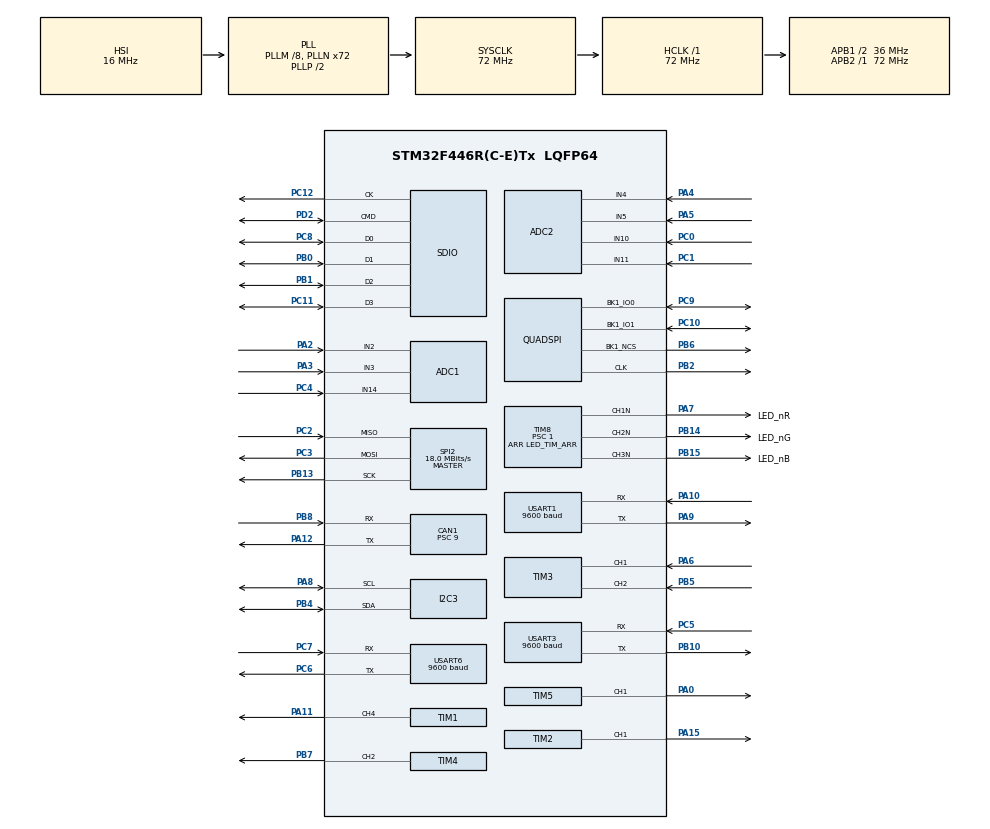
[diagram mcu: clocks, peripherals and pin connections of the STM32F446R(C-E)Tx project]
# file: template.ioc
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ADC1.Channel-95\#ChannelRegularConversion=ADC_CHANNEL_2
ADC1.NbrOfConversionFlag=1
ADC1.Rank-95\#ChannelRegularConversion=1
ADC1.SamplingTime-95\#ChannelRegularConversion=ADC_SAMPLETIME_3CYCLES
ADC1.master=1
ADC2.Channel-88\#ChannelRegularConversion=ADC_CHANNEL_4
ADC2.NbrOfConversionFlag=1
ADC2.Rank-88\#ChannelRegularConversion=1
ADC2.SamplingTime-88\#ChannelRegularConversion=ADC_SAMPLETIME_3CYCLES
CAN1.BS1=CAN_BS1_13TQ
CAN1.BS2=CAN_BS2_2TQ
CAN1.CalculateTimeQuantum=250.0
CAN1.NART=ENABLE
CAN1.Prescaler=9
Dma.I2C3_RX.2.Direction=DMA_PERIPH_TO_MEMORY
Dma.I2C3_RX.2.FIFOMode=DMA_FIFOMODE_DISABLE
Dma.I2C3_RX.2.Instance=DMA1_Stream2
Dma.I2C3_RX.2.MemDataAlignment=DMA_MDATAALIGN_BYTE
Dma.I2C3_RX.2.MemInc=DMA_MINC_ENABLE
Dma.I2C3_RX.2.Mode=DMA_NORMAL
Dma.I2C3_RX.2.PeriphDataAlignment=DMA_PDATAALIGN_BYTE
Dma.I2C3_RX.2.PeriphInc=DMA_PINC_DISABLE
Dma.I2C3_RX.2.Priority=DMA_PRIORITY_LOW
Dma.Request0=SDIO_RX
Dma.Request1=SDIO_TX
Dma.Request2=I2C3_RX
Dma.Request3=USART3_RX
Dma.Request4=USART3_TX
Dma.Request5=USART1_TX
Dma.Request6=USART6_RX
Dma.SDIO_RX.0.Direction=DMA_PERIPH_TO_MEMORY
Dma.SDIO_RX.0.FIFOMode=DMA_FIFOMODE_ENABLE
Dma.SDIO_RX.0.FIFOThreshold=DMA_FIFO_THRESHOLD_FULL
Dma.SDIO_RX.0.Instance=DMA2_Stream6
Dma.SDIO_RX.0.MemBurst=DMA_MBURST_INC4
Dma.SDIO_RX.0.MemDataAlignment=DMA_MDATAALIGN_WORD
Dma.SDIO_RX.0.MemInc=DMA_MINC_ENABLE
Dma.SDIO_RX.0.Mode=DMA_PFCTRL
Dma.SDIO_RX.0.PeriphBurst=DMA_PBURST_INC4
Dma.SDIO_RX.0.PeriphDataAlignment=DMA_PDATAALIGN_WORD
Dma.SDIO_RX.0.PeriphInc=DMA_PINC_DISABLE
Dma.SDIO_RX.0.Priority=DMA_PRIORITY_LOW
Dma.SDIO_TX.1.Direction=DMA_MEMORY_TO_PERIPH
Dma.SDIO_TX.1.FIFOMode=DMA_FIFOMODE_ENABLE
Dma.SDIO_TX.1.FIFOThreshold=DMA_FIFO_THRESHOLD_FULL
Dma.SDIO_TX.1.Instance=DMA2_Stream3
Dma.SDIO_TX.1.MemBurst=DMA_MBURST_INC4
Dma.SDIO_TX.1.MemDataAlignment=DMA_MDATAALIGN_WORD
Dma.SDIO_TX.1.MemInc=DMA_MINC_ENABLE
Dma.SDIO_TX.1.Mode=DMA_PFCTRL
Dma.SDIO_TX.1.PeriphBurst=DMA_PBURST_INC4
Dma.SDIO_TX.1.PeriphDataAlignment=DMA_PDATAALIGN_WORD
Dma.SDIO_TX.1.PeriphInc=DMA_PINC_DISABLE
Dma.SDIO_TX.1.Priority=DMA_PRIORITY_LOW
Dma.USART1_TX.5.Direction=DMA_MEMORY_TO_PERIPH
Dma.USART1_TX.5.FIFOMode=DMA_FIFOMODE_DISABLE
Dma.USART1_TX.5.Instance=DMA2_Stream7
Dma.USART1_TX.5.MemDataAlignment=DMA_MDATAALIGN_BYTE
Dma.USART1_TX.5.MemInc=DMA_MINC_ENABLE
Dma.USART1_TX.5.Mode=DMA_NORMAL
Dma.USART1_TX.5.PeriphDataAlignment=DMA_PDATAALIGN_BYTE
Dma.USART1_TX.5.PeriphInc=DMA_PINC_DISABLE
Dma.USART1_TX.5.Priority=DMA_PRIORITY_LOW
Dma.USART3_RX.3.Direction=DMA_PERIPH_TO_MEMORY
Dma.USART3_RX.3.FIFOMode=DMA_FIFOMODE_DISABLE
Dma.USART3_RX.3.Instance=DMA1_Stream1
Dma.USART3_RX.3.MemDataAlignment=DMA_MDATAALIGN_BYTE
Dma.USART3_RX.3.MemInc=DMA_MINC_ENABLE
Dma.USART3_RX.3.Mode=DMA_NORMAL
Dma.USART3_RX.3.PeriphDataAlignment=DMA_PDATAALIGN_BYTE
Dma.USART3_RX.3.PeriphInc=DMA_PINC_DISABLE
Dma.USART3_RX.3.Priority=DMA_PRIORITY_LOW
Dma.USART3_TX.4.Direction=DMA_MEMORY_TO_PERIPH
Dma.USART3_TX.4.FIFOMode=DMA_FIFOMODE_DISABLE
Dma.USART3_TX.4.Instance=DMA1_Stream4
Dma.USART3_TX.4.MemDataAlignment=DMA_MDATAALIGN_BYTE
Dma.USART3_TX.4.MemInc=DMA_MINC_ENABLE
Dma.USART3_TX.4.Mode=DMA_NORMAL
Dma.USART3_TX.4.PeriphDataAlignment=DMA_PDATAALIGN_BYTE
Dma.USART3_TX.4.PeriphInc=DMA_PINC_DISABLE
Dma.USART3_TX.4.Priority=DMA_PRIORITY_LOW
Dma.USART6_RX.6.Direction=DMA_PERIPH_TO_MEMORY
Dma.USART6_RX.6.FIFOMode=DMA_FIFOMODE_DISABLE
Dma.USART6_RX.6.Instance=DMA2_Stream1
Dma.USART6_RX.6.MemDataAlignment=DMA_MDATAALIGN_BYTE
Dma.USART6_RX.6.MemInc=DMA_MINC_ENABLE
Dma.USART6_RX.6.Mode=DMA_CIRCULAR
Dma.USART6_RX.6.PeriphDataAlignment=DMA_PDATAALIGN_BYTE
Dma.USART6_RX.6.PeriphInc=DMA_PINC_DISABLE
Dma.USART6_RX.6.Priority=DMA_PRIORITY_LOW
FATFS._FS_LOCK=2
FATFS._USE_STRFUNC=0
FREERTOS.Tasks01=defaultTask,0,256,StartDefaultTask,Default,NULL,Dynamic,NULL,NULL;task_s1,0,256,TK_task_s1,Default,NULL,Dynamic,NULL,NULL;task_s2,0,256,TK_task_s2,Default,NULL,Dynamic,NULL,NULL
FREERTOS.configMINIMAL_STACK_SIZE=256
FREERTOS.configTOTAL_HEAP_SIZE=64400
Mcu.Family=STM32F4
Mcu.Name=STM32F446R(C-E)Tx
Mcu.Package=LQFP64
Mcu.UserConstants=LED_TIM_ARR,1000
NVIC.CAN1_RX0_IRQn=true\:5\:0\:false\:false\:true\:true\:true
NVIC.DMA1_Stream1_IRQn=true\:5\:0\:false\:false\:true\:true\:false
NVIC.DMA1_Stream2_IRQn=true\:5\:0\:false\:false\:true\:true\:false
NVIC.DMA1_Stream4_IRQn=true\:5\:0\:false\:false\:true\:true\:false
NVIC.DMA2_Stream1_IRQn=true\:5\:0\:false\:false\:true\:true\:false
NVIC.DMA2_Stream3_IRQn=true\:5\:0\:false\:false\:true\:true\:false
NVIC.DMA2_Stream6_IRQn=true\:5\:0\:false\:false\:true\:true\:false
NVIC.DMA2_Stream7_IRQn=true\:5\:0\:false\:false\:true\:true\:false
NVIC.PriorityGroup=NVIC_PRIORITYGROUP_4
NVIC.SDIO_IRQn=true\:5\:0\:false\:false\:true\:true\:true
NVIC.TIM8_TRG_COM_TIM14_IRQn=true\:0\:0\:false\:false\:true\:false\:false
NVIC.TimeBase=TIM8_TRG_COM_TIM14_IRQn
NVIC.TimeBaseIP=TIM14
NVIC.USART1_IRQn=true\:5\:0\:false\:false\:true\:true\:true
PA0-WKUP.Signal=S_TIM5_CH1
PA10.Mode=Asynchronous
PA10.Signal=USART1_RX
PA11.Signal=S_TIM1_CH4
PA12.Mode=Master
PA12.Signal=CAN1_TX
PA13.Mode=Trace_Asynchronous_SW
PA13.Signal=SYS_JTMS-SWDIO
PA14.Mode=Trace_Asynchronous_SW
PA14.Signal=SYS_JTCK-SWCLK
PA15.Signal=S_TIM2_CH1_ETR
PA2.Signal=ADCx_IN2
PA3.Signal=ADCx_IN3
PA4.Signal=ADCx_IN4
PA5.Signal=ADCx_IN5
PA6.Signal=S_TIM3_CH1
PA7.GPIO_Label=LED_nR
PA7.Mode=PWM Generation1 CH1N
PA7.Signal=TIM8_CH1N
PA8.Mode=I2C
PA8.Signal=I2C3_SCL
PA9.Mode=Asynchronous
PA9.Signal=USART1_TX
PB0.Mode=SD_4_bits_Wide_bus
PB0.Signal=SDIO_D1
PB1.Mode=SD_4_bits_Wide_bus
PB1.Signal=SDIO_D2
PB10.Mode=Asynchronous
PB10.Signal=USART3_TX
PB13.Mode=Full_Duplex_Master
PB13.Signal=SPI2_SCK
PB14.GPIO_Label=LED_nG
PB14.Mode=PWM Generation2 CH2N
PB14.Signal=TIM8_CH2N
PB15.GPIO_Label=LED_nB
PB15.Mode=PWM Generation3 CH3N
PB15.Signal=TIM8_CH3N
PB2.Mode=Single Bank 1 2IOs
PB2.Signal=QUADSPI_CLK
PB3.Mode=Trace_Asynchronous_SW
PB3.Signal=SYS_JTDO-SWO
PB4.Mode=I2C
PB4.Signal=I2C3_SDA
PB5.Signal=S_TIM3_CH2
PB6.Mode=Single Bank 1 2IOs
PB6.Signal=QUADSPI_BK1_NCS
PB7.Signal=S_TIM4_CH2
PB8.Mode=Master
PB8.Signal=CAN1_RX
PC0.Signal=ADCx_IN10
PC1.Signal=ADCx_IN11
PC10.Mode=Single Bank 1 2IOs
PC10.Signal=QUADSPI_BK1_IO1
PC11.Mode=SD_4_bits_Wide_bus
PC11.Signal=SDIO_D3
PC12.Mode=SD_4_bits_Wide_bus
PC12.Signal=SDIO_CK
PC14-OSC32_IN.Mode=LSE-External-Oscillator
PC14-OSC32_IN.Signal=RCC_OSC32_IN
PC15-OSC32_OUT.Mode=LSE-External-Oscillator
PC15-OSC32_OUT.Signal=RCC_OSC32_OUT
PC2.Mode=Full_Duplex_Master
PC2.Signal=SPI2_MISO
PC3.Mode=Full_Duplex_Master
PC3.Signal=SPI2_MOSI
PC4.Signal=ADCx_IN14
PC5.Mode=Asynchronous
PC5.Signal=USART3_RX
PC6.Mode=Asynchronous
PC6.Signal=USART6_TX
PC7.Mode=Asynchronous
PC7.Signal=USART6_RX
PC8.Mode=SD_4_bits_Wide_bus
PC8.Signal=SDIO_D0
PC9.Mode=Single Bank 1 2IOs
PC9.Signal=QUADSPI_BK1_IO0
PD2.Mode=SD_4_bits_Wide_bus
PD2.Signal=SDIO_CMD
PH0-OSC_IN.Mode=HSE-External-Oscillator
PH0-OSC_IN.Signal=RCC_OSC_IN
PH1-OSC_OUT.Mode=HSE-External-Oscillator
PH1-OSC_OUT.Signal=RCC_OSC_OUT
ProjectManager.HeapSize=0x200
ProjectManager.StackSize=0x400
ProjectManager.TargetToolchain=SW4STM32
RCC.AHBFreq_Value=72000000
RCC.APB1CLKDivider=RCC_HCLK_DIV2
RCC.APB1Freq_Value=36000000
RCC.APB1TimFreq_Value=72000000
RCC.APB2Freq_Value=72000000
RCC.APB2TimFreq_Value=72000000
RCC.CortexFreq_Value=72000000
RCC.HCLKFreq_Value=72000000
RCC.HSE_VALUE=8000000
RCC.PLLM=8
RCC.PLLN=72
RCC.PLLQ=3
RCC.SYSCLKFreq_VALUE=72000000
RCC.SYSCLKSource=RCC_SYSCLKSOURCE_PLLCLK
RCC.USBFreq_Value=48000000
RCC.VCOOutputFreq_Value=144000000
SH.ADCx_IN10.0=ADC2_IN10,IN10
SH.ADCx_IN11.0=ADC2_IN11,IN11
SH.ADCx_IN14.0=ADC1_IN14,IN14
SH.ADCx_IN2.0=ADC1_IN2,IN2
SH.ADCx_IN3.0=ADC1_IN3,IN3
SH.ADCx_IN4.0=ADC2_IN4,IN4
SH.ADCx_IN5.0=ADC2_IN5,IN5
SH.S_TIM1_CH4.0=TIM1_CH4,Output Compare4 CH4
SH.S_TIM2_CH1_ETR.0=TIM2_CH1,Output Compare1 CH1
SH.S_TIM3_CH1.0=TIM3_CH1,TriggerSource_TI1FP1
SH.S_TIM3_CH2.0=TIM3_CH2,Input_Capture2_from_TI2
SH.S_TIM4_CH2.0=TIM4_CH2,Output Compare2 CH2
SH.S_TIM5_CH1.0=TIM5_CH1,Output Compare1 CH1
SPI2.BaudRatePrescaler=SPI_BAUDRATEPRESCALER_2
SPI2.CalculateBaudRate=18.0 MBits/s
SPI2.Direction=SPI_DIRECTION_2LINES
SPI2.Mode=SPI_MODE_MASTER
SPI2.VirtualType=VM_MASTER
TIM1.Channel-Output\ Compare4\ CH4=TIM_CHANNEL_4
TIM2.Channel-Output\ Compare1\ CH1=TIM_CHANNEL_1
TIM3.Channel-Input_Capture2_from_TI2=TIM_CHANNEL_2
TIM4.Channel-Output\ Compare2\ CH2=TIM_CHANNEL_2
TIM5.Channel-Output\ Compare1\ CH1=TIM_CHANNEL_1
TIM8.Channel-PWM\ Generation1\ CH1N=TIM_CHANNEL_1
TIM8.Channel-PWM\ Generation2\ CH2N=TIM_CHANNEL_2
TIM8.Channel-PWM\ Generation3\ CH3N=TIM_CHANNEL_3
TIM8.OCMode_PWM-PWM\ Generation1\ CH1N=TIM_OCMODE_PWM2
TIM8.OCMode_PWM-PWM\ Generation2\ CH2N=TIM_OCMODE_PWM2
TIM8.OCMode_PWM-PWM\ Generation3\ CH3N=TIM_OCMODE_PWM2
TIM8.Period=LED_TIM_ARR
TIM8.Prescaler=1
USART1.BaudRate=9600
USART1.VirtualMode=VM_ASYNC
USART3.BaudRate=9600
USART3.VirtualMode=VM_ASYNC
USART6.BaudRate=9600
USART6.VirtualMode=VM_ASYNC
VP_FATFS_VS_SDIO.Mode=SDIO
VP_FREERTOS_VS_ENABLE.Mode=Enabled
VP_SYS_VS_tim14.Mode=TIM14
VP_TIM1_VS_ClockSourceINT.Mode=Internal
VP_TIM2_VS_ClockSourceINT.Mode=Internal
VP_TIM3_VS_ControllerModeClock.Mode=Clock Mode
VP_TIM4_VS_ClockSourceINT.Mode=Internal
VP_TIM5_VS_ClockSourceINT.Mode=Internal
VP_TIM8_VS_ClockSourceINT.Mode=Internal
board=custom

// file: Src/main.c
/* USER CODE BEGIN Header */
/**
  ******************************************************************************
  * @file           : main.c
  * @brief          : Main program body
  ******************************************************************************
  * This notice applies to any and all portions of this file
  * that are not between comment pairs USER CODE BEGIN and
  * USER CODE END. Other portions of this file, whether
  * inserted by the user or by software development tools
  * are owned by their respective copyright owners.
  *
  * Copyright (c) 2019 STMicroelectronics International N.V.
  * All rights reserved.
  *
  * Redistribution and use in source and binary forms, with or without
  * modification, are permitted, provided that the following conditions are met:
  *
  * 1. Redistribution of source code must retain the above copyright notice,
  *    this list of conditions and the following disclaimer.
  * 2. Redistributions in binary form must reproduce the above copyright notice,
  *    this list of conditions and the following disclaimer in the documentation
  *    and/or other materials provided with the distribution.
  * 3. Neither the name of STMicroelectronics nor the names of other
  *    contributors to this software may be used to endorse or promote products
  *    derived from this software without specific written permission.
  * 4. This software, including modifications and/or derivative works of this
  *    software, must execute solely and exclusively on microcontroller or
  *    microprocessor devices manufactured by or for STMicroelectronics.
  * 5. Redistribution and use of this software other than as permitted under
  *    this license is void and will automatically terminate your rights under
  *    this license.
  *
  * THIS SOFTWARE IS PROVIDED BY STMICROELECTRONICS AND CONTRIBUTORS "AS IS"
  * AND ANY EXPRESS, IMPLIED OR STATUTORY WARRANTIES, INCLUDING, BUT NOT
  * LIMITED TO, THE IMPLIED WARRANTIES OF MERCHANTABILITY, FITNESS FOR A
  * PARTICULAR PURPOSE AND NON-INFRINGEMENT OF THIRD PARTY INTELLECTUAL PROPERTY
  * RIGHTS ARE DISCLAIMED TO THE FULLEST EXTENT PERMITTED BY LAW. IN NO EVENT
  * SHALL STMICROELECTRONICS OR CONTRIBUTORS BE LIABLE FOR ANY DIRECT, INDIRECT,
  * INCIDENTAL, SPECIAL, EXEMPLARY, OR CONSEQUENTIAL DAMAGES (INCLUDING, BUT NOT
  * LIMITED TO, PROCUREMENT OF SUBSTITUTE GOODS OR SERVICES; LOSS OF USE, DATA,
  * OR PROFITS; OR BUSINESS INTERRUPTION) HOWEVER CAUSED AND ON ANY THEORY OF
  * LIABILITY, WHETHER IN CONTRACT, STRICT LIABILITY, OR TORT (INCLUDING
  * NEGLIGENCE OR OTHERWISE) ARISING IN ANY WAY OUT OF THE USE OF THIS SOFTWARE,
  * EVEN IF ADVISED OF THE POSSIBILITY OF SUCH DAMAGE.
  *
  ******************************************************************************
  */
/* USER CODE END Header */

#include "main.h"
#include "cmsis_os.h"
#include "adc.h"
#include "can.h"
#include "dma.h"
#include "fatfs.h"
#include "i2c.h"
#include "quadspi.h"
#include "sdio.h"
#include "spi.h"
#include "tim.h"
#include "usart.h"
#include "gpio.h"

/* USER CODE BEGIN Includes */
#include "led.h"
#include "CAN_communication.h"
/* USER CODE END Includes */

void SystemClock_Config(void);
void MX_FREERTOS_Init(void);

int main(void)
{

  /* MCU Configuration--------------------------------------------------------*/

  /* Reset of all peripherals, Initializes the Flash interface and the Systick. */
  HAL_Init();

  /* Configure the system clock */
  SystemClock_Config();

  /* USER CODE BEGIN SysInit */
  #ifdef GPS
  HAL_Delay(250); // wait for the GPS to initialize
  #endif
  /* USER CODE END SysInit */

  /* Initialize all configured peripherals */
  MX_GPIO_Init();
  MX_DMA_Init();
  MX_ADC1_Init();
  MX_ADC2_Init();
  MX_CAN1_Init();
  MX_I2C3_Init();
  MX_QUADSPI_Init();
  MX_SDIO_SD_Init();
  MX_SPI2_Init();
  MX_TIM1_Init();
  MX_TIM2_Init();
  MX_TIM3_Init();
  MX_TIM4_Init();
  MX_TIM5_Init();
  MX_TIM8_Init();
  MX_USART1_UART_Init();
  MX_USART3_UART_Init();
  MX_USART6_UART_Init();
  /* USER CODE BEGIN 2 */

  led_init();
  CAN_Config(CAN_ID);

  /* USER CODE END 2 */

  /* Call init function for freertos objects (in freertos.c) */
  MX_FREERTOS_Init();

  /* Start scheduler */
  osKernelStart();

  /* We should never get here as control is now taken by the scheduler */

  /* Infinite loop */
  while (1)
  {

  }
}

void SystemClock_Config(void)
{
  RCC_OscInitTypeDef RCC_OscInitStruct = {0};
  RCC_ClkInitTypeDef RCC_ClkInitStruct = {0};
  RCC_PeriphCLKInitTypeDef PeriphClkInitStruct = {0};

  /**Configure the main internal regulator output voltage
  */
  __HAL_RCC_PWR_CLK_ENABLE();
  __HAL_PWR_VOLTAGESCALING_CONFIG(PWR_REGULATOR_VOLTAGE_SCALE3);
  /**Initializes the CPU, AHB and APB busses clocks
  */
  RCC_OscInitStruct.OscillatorType = RCC_OSCILLATORTYPE_HSI;
  RCC_OscInitStruct.HSIState = RCC_HSI_ON;
  RCC_OscInitStruct.HSICalibrationValue = RCC_HSICALIBRATION_DEFAULT;
  RCC_OscInitStruct.PLL.PLLState = RCC_PLL_ON;
  RCC_OscInitStruct.PLL.PLLSource = RCC_PLLSOURCE_HSI;
  RCC_OscInitStruct.PLL.PLLM = 8;
  RCC_OscInitStruct.PLL.PLLN = 72;
  RCC_OscInitStruct.PLL.PLLP = RCC_PLLP_DIV2;
  RCC_OscInitStruct.PLL.PLLQ = 3;
  RCC_OscInitStruct.PLL.PLLR = 2;
  if (HAL_RCC_OscConfig(&RCC_OscInitStruct) != HAL_OK)
  {
    Error_Handler();
  }
  /**Initializes the CPU, AHB and APB busses clocks
  */
  RCC_ClkInitStruct.ClockType = RCC_CLOCKTYPE_HCLK|RCC_CLOCKTYPE_SYSCLK
                              |RCC_CLOCKTYPE_PCLK1|RCC_CLOCKTYPE_PCLK2;
  RCC_ClkInitStruct.SYSCLKSource = RCC_SYSCLKSOURCE_PLLCLK;
  RCC_ClkInitStruct.AHBCLKDivider = RCC_SYSCLK_DIV1;
  RCC_ClkInitStruct.APB1CLKDivider = RCC_HCLK_DIV2;
  RCC_ClkInitStruct.APB2CLKDivider = RCC_HCLK_DIV1;

  if (HAL_RCC_ClockConfig(&RCC_ClkInitStruct, FLASH_LATENCY_2) != HAL_OK)
  {
    Error_Handler();
  }
  PeriphClkInitStruct.PeriphClockSelection = RCC_PERIPHCLK_SDIO|RCC_PERIPHCLK_CLK48;
  PeriphClkInitStruct.Clk48ClockSelection = RCC_CLK48CLKSOURCE_PLLQ;
  PeriphClkInitStruct.SdioClockSelection = RCC_SDIOCLKSOURCE_CLK48;
  if (HAL_RCCEx_PeriphCLKConfig(&PeriphClkInitStruct) != HAL_OK)
  {
    Error_Handler();
  }
}

void HAL_TIM_PeriodElapsedCallback(TIM_HandleTypeDef *htim)
{
  if (htim->Instance == TIM14) {
    HAL_IncTick();
  }
}

void Error_Handler(void)
{
}

/************************ (C) COPYRIGHT STMicroelectronics *****END OF FILE****/

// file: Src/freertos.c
/* USER CODE BEGIN Header */
/**
  ******************************************************************************
  * File Name          : freertos.c
  * Description        : Code for freertos applications
  ******************************************************************************
  * This notice applies to any and all portions of this file
  * that are not between comment pairs USER CODE BEGIN and
  * USER CODE END. Other portions of this file, whether
  * inserted by the user or by software development tools
  * are owned by their respective copyright owners.
  *
  * Copyright (c) 2019 STMicroelectronics International N.V.
  * All rights reserved.
  *
  * Redistribution and use in source and binary forms, with or without
  * modification, are permitted, provided that the following conditions are met:
  *
  * 1. Redistribution of source code must retain the above copyright notice,
  *    this list of conditions and the following disclaimer.
  * 2. Redistributions in binary form must reproduce the above copyright notice,
  *    this list of conditions and the following disclaimer in the documentation
  *    and/or other materials provided with the distribution.
  * 3. Neither the name of STMicroelectronics nor the names of other
  *    contributors to this software may be used to endorse or promote products
  *    derived from this software without specific written permission.
  * 4. This software, including modifications and/or derivative works of this
  *    software, must execute solely and exclusively on microcontroller or
  *    microprocessor devices manufactured by or for STMicroelectronics.
  * 5. Redistribution and use of this software other than as permitted under
  *    this license is void and will automatically terminate your rights under
  *    this license.
  *
  * THIS SOFTWARE IS PROVIDED BY STMICROELECTRONICS AND CONTRIBUTORS "AS IS"
  * AND ANY EXPRESS, IMPLIED OR STATUTORY WARRANTIES, INCLUDING, BUT NOT
  * LIMITED TO, THE IMPLIED WARRANTIES OF MERCHANTABILITY, FITNESS FOR A
  * PARTICULAR PURPOSE AND NON-INFRINGEMENT OF THIRD PARTY INTELLECTUAL PROPERTY
  * RIGHTS ARE DISCLAIMED TO THE FULLEST EXTENT PERMITTED BY LAW. IN NO EVENT
  * SHALL STMICROELECTRONICS OR CONTRIBUTORS BE LIABLE FOR ANY DIRECT, INDIRECT,
  * INCIDENTAL, SPECIAL, EXEMPLARY, OR CONSEQUENTIAL DAMAGES (INCLUDING, BUT NOT
  * LIMITED TO, PROCUREMENT OF SUBSTITUTE GOODS OR SERVICES; LOSS OF USE, DATA,
  * OR PROFITS; OR BUSINESS INTERRUPTION) HOWEVER CAUSED AND ON ANY THEORY OF
  * LIABILITY, WHETHER IN CONTRACT, STRICT LIABILITY, OR TORT (INCLUDING
  * NEGLIGENCE OR OTHERWISE) ARISING IN ANY WAY OUT OF THE USE OF THIS SOFTWARE,
  * EVEN IF ADVISED OF THE POSSIBILITY OF SUCH DAMAGE.
  *
  ******************************************************************************
  */
/* USER CODE END Header */

#include "FreeRTOS.h"
#include "task.h"
#include "main.h"
#include "cmsis_os.h"

/* USER CODE BEGIN Includes */
#include "usart.h"

#include "sd_card.h"
#include "led.h"
#include "Telemetry/xbee.h"
#include "Misc/Common.h"
#include "Misc/data_handling.h"
#include "Misc/state_machine.h"
#include "airbrake/airbrake.h"
#include "Sensors/sensor_board.h"
#include "Sensors/GPS_board.h"
#include "ekf/tiny_ekf.h"
#include "CAN_handling.h"
/* USER CODE END Includes */

/* USER CODE BEGIN Variables */
osThreadId sdWriteHandle;
osThreadId task_ABHandle;
osThreadId sensorBoardHandle;
osThreadId task_LEDHandle;
osThreadId task_GPSHandle;
osThreadId xBeeTelemetryHandle;
osThreadId canReaderHandle;
osThreadId kalmanHandle;
osThreadId rocketfsmHandle;
osThreadId state_estimatorHandle;

/* USER CODE END Variables */
osThreadId defaultTaskHandle;
osThreadId task_s1Handle;
osThreadId task_s2Handle;

void StartDefaultTask(void const * argument);
void TK_task_s1(void const * argument);
void TK_task_s2(void const * argument);

void MX_FREERTOS_Init(void); /* (MISRA C 2004 rule 8.1) */

void MX_FREERTOS_Init(void) {

  /* Create the thread(s) */
  /* definition and creation of defaultTask */
  osThreadDef(defaultTask, StartDefaultTask, osPriorityNormal, 0, 256);
  defaultTaskHandle = osThreadCreate(osThread(defaultTask), NULL);

  /* definition and creation of task_s1 */
  osThreadDef(task_s1, TK_task_s1, osPriorityNormal, 0, 256);
  task_s1Handle = osThreadCreate(osThread(task_s1), NULL);

  /* definition and creation of task_s2 */
  osThreadDef(task_s2, TK_task_s2, osPriorityNormal, 0, 256);
  task_s2Handle = osThreadCreate(osThread(task_s2), NULL);

  /* USER CODE BEGIN RTOS_THREADS */
  /* add threads, ... */
  // LED thread
  osThreadDef(task_LED, TK_led_handler, osPriorityNormal, 0, 256);
  task_LEDHandle = osThreadCreate(osThread(task_LED), NULL);

  // CAN reader thread
  osThreadDef(can_reader, TK_can_reader, osPriorityNormal, 0, 1024);
  canReaderHandle = osThreadCreate(osThread(can_reader), NULL);

#ifdef GPS
  osThreadDef(task_GPSHandle, TK_GPS_board, osPriorityNormal, 0, 256);
  task_GPSHandle = osThreadCreate(osThread(task_GPSHandle), NULL);
  gps_init(&huart6);
#endif

#ifdef AB_CONTROL
  osThreadDef(task_AB, TK_ab_controller, osPriorityNormal, 0, 256);
  task_ABHandle = osThreadCreate(osThread(task_AB), NULL);
  ab_init(&huart6);

  osThreadDef(state_estimator, TK_state_estimation, osPriorityNormal, 0, 256);
  state_estimatorHandle = osThreadCreate(osThread(state_estimator), NULL);
#endif

#ifdef SDCARD
  osThreadDef(sdWrite, TK_sd_sync, osPriorityNormal, 0, 1024);
  sdWriteHandle = osThreadCreate(osThread(sdWrite), NULL);
#endif

#ifdef SENSOR
  osThreadDef(sensor_board, TK_sensor_board, osPriorityNormal, 0, 1024);
  sensorBoardHandle = osThreadCreate(osThread(sensor_board), NULL);
#endif

#ifdef XBEE
  xbee_freertos_init(&huart1);
  osThreadDef(xBeeTelemetry, TK_xBeeTelemetry, osPriorityNormal, 0, 128);
  xBeeTelemetryHandle = osThreadCreate(osThread(xBeeTelemetry), NULL);
#endif

#ifdef KALMAN
  osThreadDef(kalman, TK_kalman, osPriorityNormal, 0, 1024);
  kalmanHandle = osThreadCreate(osThread(kalman), NULL);
#endif

#ifdef ROCKET_FSM
  osThreadDef(rocket_fsm, TK_state_machine, osPriorityNormal, 0, 256);
  rocketfsmHandle = osThreadCreate(osThread(rocket_fsm), NULL);
#endif

  /* USER CODE END RTOS_THREADS */

}

void StartDefaultTask(void const * argument)
{
  /* init code for FATFS */
  //MX_FATFS_Init();

  /* USER CODE BEGIN StartDefaultTask */
  /* Infinite loop */
  for(;;)
  {
	osDelay(100);
  }
  /* USER CODE END StartDefaultTask */
}

void TK_task_s1(void const * argument)
{
  /* USER CODE BEGIN TK_task_s1 */
  osDelay(1000);

  /* Infinite loop */
  for(;;)
  {
	  osDelay(1000);
  }
  /* USER CODE END TK_task_s1 */
}

void TK_task_s2(void const * argument)
{
  /* USER CODE BEGIN TK_task_s2 */
  /* Infinite loop */
  for(;;)
  {
    osDelay(1000);
  }
  /* USER CODE END TK_task_s2 */
}

/************************ (C) COPYRIGHT STMicroelectronics *****END OF FILE****/
